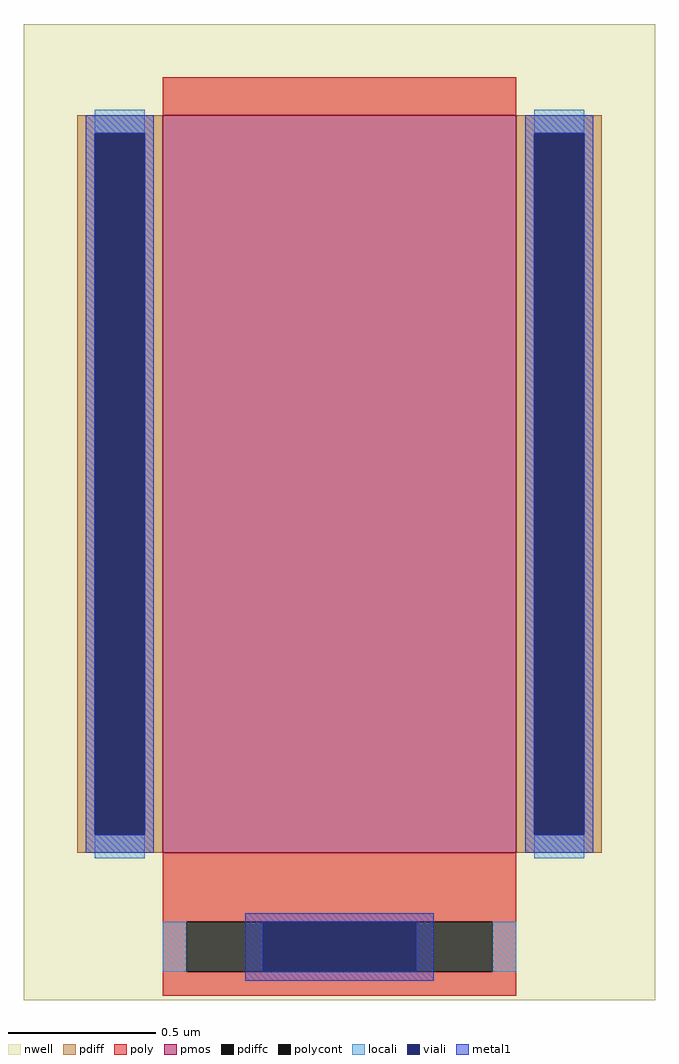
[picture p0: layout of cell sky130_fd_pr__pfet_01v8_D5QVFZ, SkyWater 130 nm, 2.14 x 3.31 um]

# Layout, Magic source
magic
tech sky130A
magscale 1 2
<< nwell >>
rect -214 -314 214 348
<< pmos >>
rect -120 -214 120 286
<< pdiff >>
rect -178 274 -120 286
rect -178 -202 -166 274
rect -132 -202 -120 274
rect -178 -214 -120 -202
rect 120 274 178 286
rect 120 -202 132 274
rect 166 -202 178 274
rect 120 -214 178 -202
<< pdiffc >>
rect -166 -202 -132 274
rect 132 -202 166 274
<< poly >>
rect -120 286 120 312
rect -120 -261 120 -214
rect -120 -295 -104 -261
rect 104 -295 120 -261
rect -120 -311 120 -295
<< polycont >>
rect -104 -295 104 -261
<< locali >>
rect -166 274 -132 290
rect -166 -218 -132 -202
rect 132 274 166 290
rect 132 -218 166 -202
rect -120 -295 -104 -261
rect 104 -295 120 -261
<< viali >>
rect -166 -202 -132 274
rect 132 -202 166 274
rect -52 -295 52 -261
<< metal1 >>
rect -172 274 -126 286
rect -172 -202 -166 274
rect -132 -202 -126 274
rect -172 -214 -126 -202
rect 126 274 172 286
rect 126 -202 132 274
rect 166 -202 172 274
rect 126 -214 172 -202
rect -64 -261 64 -255
rect -64 -295 -52 -261
rect 52 -295 64 -261
rect -64 -301 64 -295
<< properties >>
string gencell sky130_fd_pr__pfet_01v8
string library sky130
string parameters w 2.5 l 1.2 m 1 nf 1 diffcov 100 polycov 100 guard 0 glc 1 grc 1 gtc 1 gbc 1 tbcov 100 rlcov 100 topc 0 botc 1 poverlap 0 doverlap 1 lmin 0.15 wmin 0.42 compatible {sky130_fd_pr__pfet_01v8  sky130_fd_pr__pfet_01v8_lvt sky130_fd_pr__pfet_01v8_hvt  sky130_fd_pr__pfet_g5v0d10v5} full_metal 1 viasrc 100 viadrn 100 viagate 50 viagb 0 viagr 0 viagl 0 viagt 0
<< end >>
